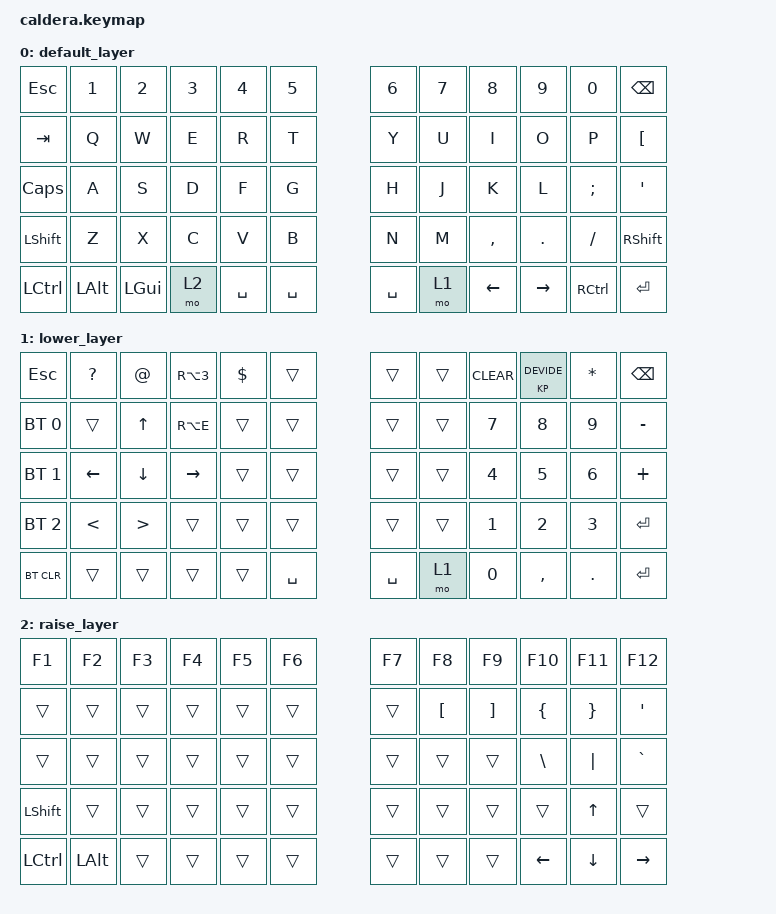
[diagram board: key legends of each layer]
#include <behaviors.dtsi>
#include <dt-bindings/zmk/keys.h>
#include <dt-bindings/zmk/bt.h>

/ {
        keymap {
                compatible = "zmk,keymap";

                default_layer {
// ---------------------------------------------------------------------------------
// | ESC  |  1  |  2  |  3  |  4  |  5  |     |  6  |  7  |  8  |  9  |  0  | BKSP |
// | TAB  |  Q  |  W  |  E  |  R  |  T  |     |  Y  |  U  |  I  |  O  |  P  | [ å  | [ (Left Bracket)
// | CAPS |  A  |  S  |  D  |  F  |  G  |     |  H  |  J  |  K  |  L  |  ;æ |APOS Ø| ; (semi) APOStrof og anvendes som æøå på programmeringsplan. 
// | SHFT |  Z  |  X  |  C  |  V  |  B  |     |  N  |  M  |  ,  |  .  |  /  | SHFT |
// | CTRL | ALT | GUI | mod2 | SPC | SPC |    | SPC | LOW |LEFT |RIGHT|CTRL | RET  | low = modifier 1 // mod 2 = raise
                        bindings = <
   &kp ESC    &kp N1    &kp N2    &kp N3     &kp N4     &kp N5               &kp N6     &kp N7  &kp N8     &kp N9    &kp N0    &kp BSPC
   &kp TAB    &kp Q     &kp W     &kp E      &kp R      &kp T                &kp Y      &kp U   &kp I      &kp O     &kp P     &kp LBKT
   &kp CAPS   &kp A     &kp S     &kp D      &kp F      &kp G                &kp H      &kp J   &kp K      &kp L     &kp SEMI  &kp APOS
   &kp LSHFT  &kp Z     &kp X     &kp C      &kp V      &kp B                &kp N      &kp M   &kp COMMA  &kp DOT   &kp FSLH  &kp RSHFT
   &kp LCTRL  &kp LALT  &kp LGUI  &mo 2      &kp SPACE  &kp SPACE            &kp SPACE  &mo 1   &kp LEFT   &kp RIGHT &kp RCTRL &kp RET
                        >;
                };
                lower_layer {
// ------------------------------------------------------------------------------------------------------------
// | ESC   |  ?    |   @   |   £   |  $    |       |          |      |        | CLEAR |   /   |   *   | BKSP  |
// | BT1   |       |   UP  |  €    |       |       |          |      |        |   7   |   8   |   9   |   -   |
// | BT2   |  LEFT | DOWN  | RIGHT |       |       |          |      |        |   4   |   5   |   6   |   +   |
// | BT3   |  <    |   >   |       |       |       |          |      |        |   1   |   2   |   3   | Enter |
// | BTCLR |       |       |       |       |  SPC  |          | SPC  | reserv |   0   |   ,   |   .   | Enter |
                        bindings = <
   &kp ESC      &kp QMARK &kp AT   &kp RA(3) &kp DLLR &trans           &trans    &trans    &kp CLEAR &KP DEVIDE  &kp MULTIPLY  &kp BSPC
   &bt BT_SEL 0 &trans    &kp UP   &kp RA(E) &trans   &trans           &trans    &trans    &kp N7    &kp N8      &kp N9        &kp MINUS
   &bt BT_SEL 1 &kp LEFT  &kp DOWN &kp RIGHT &trans   &trans           &trans    &trans    &kp N4    &kp N5      &kp N6        &kp PLUS
   &bt BT_SEL 2 &kp LT    &kp GT   &trans    &trans   &trans           &trans    &trans    &kp N1    &kp N2      &kp N3        &kp RET
   &bt BT_CLR   &trans    &trans   &trans    &trans   &kp SPACE        &kp SPACE &mo 1     &kp N0    &kp COMMA   &kp DOT       &kp RET
                        >;
                };
                raise_layer {
// ------------------------------------------------------------------------------------------------------------
// |  F1   |  F2   |  F3   |  F4   |  F5   |  F6   |          |   F7  |    F8 |   F9  |   F10 |  F11  |  F12  |
// |       |       |       |       |       |       |          |       |    [  |   ]   |   {   |    }  |   '   |
// |       |       |       |       |       |       |          |       |       |       |   \   |    |  |   ~   |
// | SHFT  |       |       |       |       |       |          |       |       |       |       |   UP  |       | 
// | CTRL  |  ALT  |       |       |       |       |          |       |       |       | LEFT  |  DOWN | RIGHT |
                        bindings = <
   &kp F1    &kp F2   &kp F3   &kp F4      &kp F5    &kp F6                 &kp F7    &kp F8    &kp F9   &kp F10  &kp F11  &kp F12
   &trans    &trans   &trans   &trans      &trans    &trans                 &trans    &kp LBKT  &kp RBKT &kp LBRC &kp RBRC &kp APOS
   &trans    &trans   &trans   &trans      &trans    &trans                 &trans    &trans    &trans   &kp BSLH &kp PIPE &kp GRAVE
   &kp LSHFT &trans   &trans   &trans      &trans    &trans                 &trans    &trans    &trans   &trans   &kp UP   &trans
   &kp LCTRL &kp LALT &trans   &trans      &trans    &trans                 &trans    &trans    &trans   &kp LEFT &kp DOWN &kp RIGHT
                        >;
                };

        };
};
